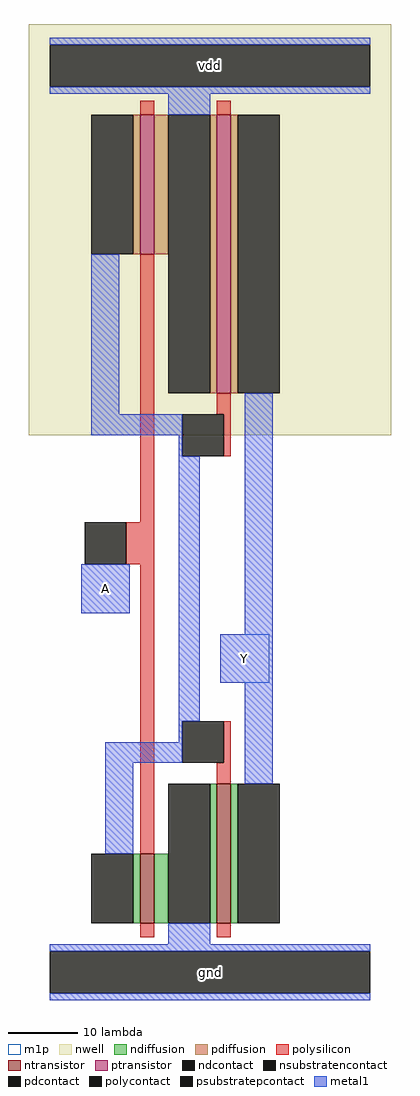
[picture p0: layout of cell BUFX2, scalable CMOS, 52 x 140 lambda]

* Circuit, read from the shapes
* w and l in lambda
.subckt BUFX2 A Y vdd gnd
M1 gnd A n1 gnd nfet w=10 l=2
M2 Y n1 gnd gnd nfet w=20 l=2
M3 vdd A n1 vdd pfet w=20 l=2
M4 Y n1 vdd vdd pfet w=40 l=2
.ends

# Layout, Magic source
magic
tech scmos
magscale 1 2
<< nwell >>
rect -12 154 92 272
<< ntransistor >>
rect 20 14 24 34
rect 42 14 46 54
<< ptransistor >>
rect 20 206 24 246
rect 42 166 46 246
<< ndiffusion >>
rect 18 14 20 34
rect 24 14 28 34
rect 40 14 42 54
rect 46 14 48 54
<< pdiffusion >>
rect 18 206 20 246
rect 24 206 28 246
rect 40 166 42 246
rect 46 166 48 246
<< ndcontact >>
rect 6 14 18 34
rect 28 14 40 54
rect 48 14 60 54
<< pdcontact >>
rect 6 206 18 246
rect 28 166 40 246
rect 48 166 60 246
<< psubstratepcontact >>
rect -6 -6 86 6
<< nsubstratencontact >>
rect -6 254 86 266
<< polysilicon >>
rect 20 246 24 250
rect 42 246 46 250
rect 20 129 24 206
rect 42 160 46 166
rect 44 148 46 160
rect 16 117 24 129
rect 20 34 24 117
rect 44 60 46 72
rect 42 54 46 60
rect 20 10 24 14
rect 42 10 46 14
<< polycontact >>
rect 32 148 44 160
rect 4 117 16 129
rect 32 60 44 72
<< metal1 >>
rect -6 266 86 268
rect -6 252 86 254
rect 28 246 40 252
rect 6 160 14 206
rect 6 154 32 160
rect 31 148 32 154
rect 3 103 17 117
rect 31 72 37 148
rect 50 97 58 166
rect 43 83 58 97
rect 31 66 32 72
rect 10 60 32 66
rect 10 34 18 60
rect 50 54 58 83
rect 28 8 40 14
rect -6 6 86 8
rect -6 -8 86 -6
<< m1p >>
rect 3 103 17 117
rect 43 83 57 97
<< labels >>
rlabel metal1 3 103 17 117 0 A
port 0 nsew signal input
rlabel metal1 -6 252 86 268 0 vdd
port 2 nsew power bidirectional abutment
rlabel metal1 -6 -8 86 8 0 gnd
port 3 nsew ground bidirectional abutment
rlabel metal1 43 83 57 97 0 Y
port 1 nsew signal output
<< properties >>
string FIXED_BBOX 0 0 80 260
string LEFclass CORE
string LEFsite core
string LEFsymmetry X Y
<< end >>
